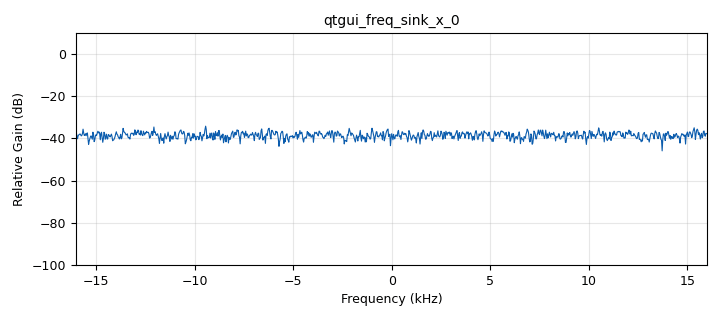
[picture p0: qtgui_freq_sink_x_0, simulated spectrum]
options:
  parameters:
    author: Qasim Chaudhari
    generate_options: qt_gui
    id: moving_average_filter
    output_language: python
    title: Moving Average Filter
  states: {}

blocks:
- name: samp_rate
  id: variable
  parameters:
    value: '32000'
  states: {}
- name: tap1
  id: variable_qtgui_check_box
  parameters:
    'false': '0'
    label: Tap 1
    'true': '1'
    type: int
    value: '0'
  states: {}
- name: tap2
  id: variable_qtgui_check_box
  parameters:
    'false': '0'
    label: Tap 2
    'true': '1'
    type: int
    value: '0'
  states: {}
- name: tap3
  id: variable_qtgui_check_box
  parameters:
    'false': '0'
    label: Tap 3
    'true': '1'
    type: int
    value: '0'
  states: {}
- name: tap4
  id: variable_qtgui_check_box
  parameters:
    'false': '0'
    label: Tap 4
    'true': '1'
    type: int
    value: '0'
  states: {}
- name: analog_noise_source_x_0
  id: analog_noise_source_x
  parameters:
    amp: '1'
    noise_type: analog.GR_GAUSSIAN
    seed: '0'
    type: complex
  states: {}
- name: blocks_add_xx_0
  id: blocks_add_xx
  parameters:
    num_inputs: '5'
    type: complex
  states: {}
- name: blocks_delay_0
  id: blocks_delay
  parameters:
    delay: '1'
    type: complex
  states: {}
- name: blocks_delay_0_0
  id: blocks_delay
  parameters:
    delay: '2'
    type: complex
  states: {}
- name: blocks_delay_0_0_0
  id: blocks_delay
  parameters:
    delay: '3'
    type: complex
  states: {}
- name: blocks_delay_0_0_0_0
  id: blocks_delay
  parameters:
    delay: '4'
    type: complex
  states: {}
- name: blocks_multiply_const_vxx_0
  id: blocks_multiply_const_vxx
  parameters:
    const: tap1
    type: complex
  states: {}
- name: blocks_multiply_const_vxx_0_0
  id: blocks_multiply_const_vxx
  parameters:
    const: tap2
    type: complex
  states: {}
- name: blocks_multiply_const_vxx_0_0_0
  id: blocks_multiply_const_vxx
  parameters:
    const: tap3
    type: complex
  states: {}
- name: blocks_multiply_const_vxx_0_0_0_0
  id: blocks_multiply_const_vxx
  parameters:
    const: tap4
    type: complex
  states: {}
- name: blocks_throttle_0
  id: blocks_throttle
  parameters:
    samples_per_second: samp_rate
    type: complex
  states: {}
- name: qtgui_freq_sink_x_0
  id: qtgui_freq_sink_x
  parameters:
    average: '0.1'
    bw: samp_rate
    fc: '0'
    fftsize: '1024'
    grid: 'True'
    legend: 'False'
    type: complex
    wintype: firdes.WIN_BLACKMAN_hARRIS
    ymin: '-100'
  states: {}

connections:
- [analog_noise_source_x_0, '0', blocks_throttle_0, '0']
- [blocks_add_xx_0, '0', qtgui_freq_sink_x_0, '0']
- [blocks_delay_0, '0', blocks_multiply_const_vxx_0, '0']
- [blocks_delay_0_0, '0', blocks_multiply_const_vxx_0_0, '0']
- [blocks_delay_0_0_0, '0', blocks_multiply_const_vxx_0_0_0, '0']
- [blocks_delay_0_0_0_0, '0', blocks_multiply_const_vxx_0_0_0_0, '0']
- [blocks_multiply_const_vxx_0, '0', blocks_add_xx_0, '1']
- [blocks_multiply_const_vxx_0_0, '0', blocks_add_xx_0, '2']
- [blocks_multiply_const_vxx_0_0_0, '0', blocks_add_xx_0, '3']
- [blocks_multiply_const_vxx_0_0_0_0, '0', blocks_add_xx_0, '4']
- [blocks_throttle_0, '0', blocks_add_xx_0, '0']
- [blocks_throttle_0, '0', blocks_delay_0, '0']
- [blocks_throttle_0, '0', blocks_delay_0_0, '0']
- [blocks_throttle_0, '0', blocks_delay_0_0_0, '0']
- [blocks_throttle_0, '0', blocks_delay_0_0_0_0, '0']

metadata:
  file_format: 1
